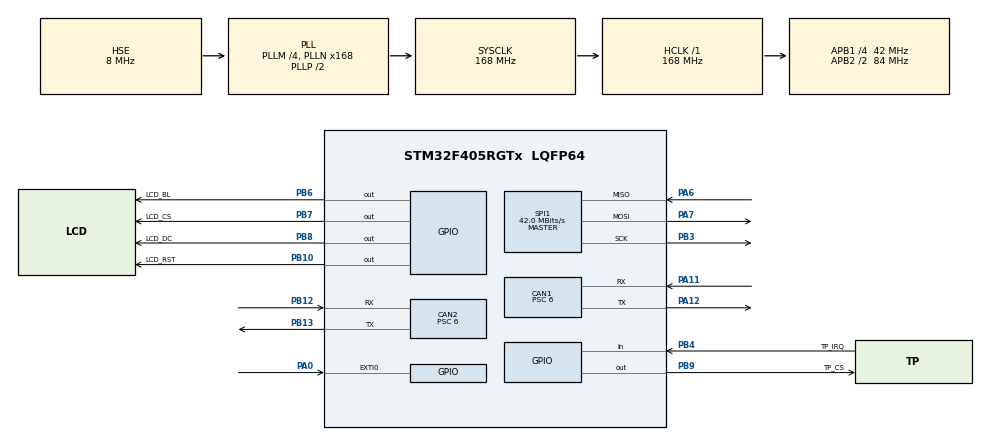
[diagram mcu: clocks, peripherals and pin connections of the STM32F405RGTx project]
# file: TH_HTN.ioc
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ADC1.Channel-1\#ChannelRegularConversion=ADC_CHANNEL_TEMPSENSOR
ADC1.NbrOfConversionFlag=1
ADC1.Rank-1\#ChannelRegularConversion=1
ADC1.SamplingTime-1\#ChannelRegularConversion=ADC_SAMPLETIME_3CYCLES
ADC1.master=1
CAN1.BS1=CAN_BS1_11TQ
CAN1.BS2=CAN_BS2_2TQ
CAN1.CalculateBaudRate=500000
CAN1.CalculateTimeBit=2000
CAN1.CalculateTimeQuantum=142.85714285714286
CAN1.Mode=CAN_MODE_NORMAL
CAN1.NART=ENABLE
CAN1.Prescaler=6
CAN2.BS1=CAN_BS1_11TQ
CAN2.BS2=CAN_BS2_2TQ
CAN2.CalculateBaudRate=500000
CAN2.CalculateTimeBit=2000
CAN2.CalculateTimeQuantum=142.85714285714286
CAN2.Mode=CAN_MODE_NORMAL
CAN2.NART=ENABLE
CAN2.Prescaler=6
FREERTOS.Queues01=TempQueue,16,uint32_t,0,Dynamic,NULL,NULL
FREERTOS.Tasks01=UI_Task,24,1024,StartDefaultTask,Default,NULL,Dynamic,NULL,NULL;Temp_Task,24,512,StartTask02,Default,NULL,Dynamic,NULL,NULL;CAN_Task,24,512,StartTask03,Default,NULL,Dynamic,NULL,NULL
Mcu.Family=STM32F4
Mcu.Name=STM32F405RGTx
Mcu.Package=LQFP64
NVIC.EXTI0_IRQn=true\:5\:0\:false\:false\:true\:true\:true\:true\:true
NVIC.PriorityGroup=NVIC_PRIORITYGROUP_4
NVIC.TIM1_UP_TIM10_IRQn=true\:15\:0\:false\:false\:true\:false\:false\:true\:true
NVIC.TimeBase=TIM1_UP_TIM10_IRQn
NVIC.TimeBaseIP=TIM1
PA0-WKUP.GPIO_ModeDefaultEXTI=GPIO_MODE_IT_FALLING
PA0-WKUP.GPIO_PuPd=GPIO_PULLUP
PA0-WKUP.Signal=GPXTI0
PA11.GPIO_PuPd=GPIO_PULLUP
PA11.Mode=CAN_Activate
PA11.Signal=CAN1_RX
PA12.Mode=CAN_Activate
PA12.Signal=CAN1_TX
PA13.Mode=Serial_Wire
PA13.Signal=SYS_JTMS-SWDIO
PA14.Mode=Serial_Wire
PA14.Signal=SYS_JTCK-SWCLK
PA6.Mode=Full_Duplex_Master
PA6.Signal=SPI1_MISO
PA7.Mode=Full_Duplex_Master
PA7.Signal=SPI1_MOSI
PB10.GPIO_Label=LCD_RST
PB10.PinState=GPIO_PIN_SET
PB10.Signal=GPIO_Output
PB12.GPIO_PuPd=GPIO_PULLUP
PB12.Mode=CAN_Activate
PB12.Signal=CAN2_RX
PB13.Mode=CAN_Activate
PB13.Signal=CAN2_TX
PB3.Mode=Full_Duplex_Master
PB3.Signal=SPI1_SCK
PB4.GPIO_Label=TP_IRQ
PB4.GPIO_PuPd=GPIO_PULLUP
PB4.Signal=GPIO_Input
PB6.GPIO_Label=LCD_BL
PB6.PinState=GPIO_PIN_RESET
PB6.Signal=GPIO_Output
PB7.GPIO_Label=LCD_CS
PB7.PinState=GPIO_PIN_SET
PB7.Signal=GPIO_Output
PB8.GPIO_Label=LCD_DC
PB8.GPIO_Speed=GPIO_SPEED_FREQ_HIGH
PB8.PinState=GPIO_PIN_SET
PB8.Signal=GPIO_Output
PB9.GPIO_Label=TP_CS
PB9.PinState=GPIO_PIN_SET
PB9.Signal=GPIO_Output
PC14-OSC32_IN.Mode=LSE-External-Oscillator
PC14-OSC32_IN.Signal=RCC_OSC32_IN
PC15-OSC32_OUT.Mode=LSE-External-Oscillator
PC15-OSC32_OUT.Signal=RCC_OSC32_OUT
PH0-OSC_IN.Mode=HSE-External-Oscillator
PH0-OSC_IN.Signal=RCC_OSC_IN
PH1-OSC_OUT.Mode=HSE-External-Oscillator
PH1-OSC_OUT.Signal=RCC_OSC_OUT
ProjectManager.HeapSize=0x200
ProjectManager.StackSize=0x400
ProjectManager.TargetToolchain=STM32CubeIDE
RCC.48MHZClocksFreq_Value=84000000
RCC.AHBFreq_Value=168000000
RCC.APB1CLKDivider=RCC_HCLK_DIV4
RCC.APB1Freq_Value=42000000
RCC.APB1TimFreq_Value=84000000
RCC.APB2CLKDivider=RCC_HCLK_DIV2
RCC.APB2Freq_Value=84000000
RCC.APB2TimFreq_Value=168000000
RCC.CortexFreq_Value=168000000
RCC.HCLKFreq_Value=168000000
RCC.HSE_VALUE=8000000
RCC.HSI_VALUE=16000000
RCC.PLLM=4
RCC.PLLN=168
RCC.PLLSourceVirtual=RCC_PLLSOURCE_HSE
RCC.RCC_RTC_Clock_Source=RCC_RTCCLKSOURCE_LSE
RCC.RCC_RTC_Clock_SourceVirtual=RCC_RTCCLKSOURCE_LSE
RCC.SYSCLKFreq_VALUE=168000000
RCC.SYSCLKSource=RCC_SYSCLKSOURCE_PLLCLK
RCC.VCOOutputFreq_Value=336000000
SPI1.BaudRatePrescaler=SPI_BAUDRATEPRESCALER_2
SPI1.CalculateBaudRate=42.0 MBits/s
SPI1.Direction=SPI_DIRECTION_2LINES
SPI1.Mode=SPI_MODE_MASTER
SPI1.VirtualType=VM_MASTER
VP_ADC1_TempSens_Input.Mode=IN-TempSens
VP_FREERTOS_VS_CMSIS_V2.Mode=CMSIS_V2
VP_SYS_VS_tim1.Mode=TIM1
board=custom

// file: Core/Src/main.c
/* USER CODE BEGIN Header */
/**
  ******************************************************************************
  * @file           : main.c
  * @brief          : Main program body
  ******************************************************************************
  * @attention
  *
  * Copyright (c) 2026 STMicroelectronics.
  * All rights reserved.
  *
  * This software is licensed under terms that can be found in the LICENSE file
  * in the root directory of this software component.
  * If no LICENSE file comes with this software, it is provided AS-IS.
  *
  ******************************************************************************
  */
/* USER CODE END Header */
#include "main.h"
#include "cmsis_os.h"

/* USER CODE BEGIN Includes */
#include <stdio.h>
#include <string.h>
#include "st7789.h"
/* USER CODE END Includes */

ADC_HandleTypeDef hadc1;

CAN_HandleTypeDef hcan1;
CAN_HandleTypeDef hcan2;

SPI_HandleTypeDef hspi1;

/* Definitions for UI_Task */
osThreadId_t UI_TaskHandle;
const osThreadAttr_t UI_Task_attributes = {
  .name = "UI_Task",
  .stack_size = 1024 * 4,
  .priority = (osPriority_t) osPriorityNormal,
};
/* Definitions for Temp_Task */
osThreadId_t Temp_TaskHandle;
const osThreadAttr_t Temp_Task_attributes = {
  .name = "Temp_Task",
  .stack_size = 512 * 4,
  .priority = (osPriority_t) osPriorityNormal,
};
/* Definitions for CAN_Task */
osThreadId_t CAN_TaskHandle;
const osThreadAttr_t CAN_Task_attributes = {
  .name = "CAN_Task",
  .stack_size = 512 * 4,
  .priority = (osPriority_t) osPriorityNormal,
};
/* Definitions for TempQueue */
osMessageQueueId_t TempQueueHandle;
const osMessageQueueAttr_t TempQueue_attributes = {
  .name = "TempQueue"
};
/* USER CODE BEGIN PV */
float debug_temp = 0.0f;

/* USER CODE END PV */

void SystemClock_Config(void);
static void MX_GPIO_Init(void);
static void MX_ADC1_Init(void);
static void MX_CAN1_Init(void);
static void MX_CAN2_Init(void);
static void MX_SPI1_Init(void);
void StartDefaultTask(void *argument);
void StartTask02(void *argument);
void StartTask03(void *argument);

/* USER CODE BEGIN 0 */
void CAN_Config_And_Start(void)
{
    CAN_FilterTypeDef filter;
    filter.FilterActivation = CAN_FILTER_ENABLE;
    filter.FilterMode = CAN_FILTERMODE_IDMASK;
    filter.FilterScale = CAN_FILTERSCALE_32BIT;
    filter.FilterIdHigh = 0;
    filter.FilterIdLow = 0;
    filter.FilterMaskIdHigh = 0;
    filter.FilterMaskIdLow = 0;
    filter.FilterFIFOAssignment = CAN_RX_FIFO0; // Đẩy dữ liệu vào Hòm thư 0
    filter.SlaveStartFilterBank = 14; // Điểm chia ranh giới Filter cho CAN2

    // Cấp phép cho CAN1 (Nhận tin nhắn vào FIFO0)
    filter.FilterBank = 0;
    HAL_CAN_ConfigFilter(&hcan1, &filter);

    // Cấp phép cho CAN2 (Nhận tin nhắn vào FIFO0)
    filter.FilterBank = 14;
    HAL_CAN_ConfigFilter(&hcan1, &filter);

    HAL_CAN_Start(&hcan1);
    HAL_CAN_Start(&hcan2);
}
long map(long x, long in_min, long in_max, long out_min, long out_max) {
    return (x - in_min) * (out_max - out_min) / (in_max - in_min) + out_min;
}

// đọc cảm ứng
uint8_t TP_Read_XY(uint16_t *x, uint16_t *y)
{
    uint8_t tx_x[3] = {0x90, 0, 0};
    uint8_t tx_y[3] = {0xD0, 0, 0};
    uint8_t rx_x[3] = {0}, rx_y[3] = {0};
    uint16_t raw_x = 0, raw_y = 0;

    vTaskSuspendAll();

    // Hạ tốc độ SPI cho cảm ứng
    __HAL_SPI_DISABLE(&hspi1);
    SPI1->CR1 = (SPI1->CR1 & ~SPI_CR1_BR_Msk) | SPI_BAUDRATEPRESCALER_128;
    __HAL_SPI_ENABLE(&hspi1);

    HAL_GPIO_WritePin(GPIOB, GPIO_PIN_7, GPIO_PIN_SET);

    HAL_GPIO_WritePin(GPIOB, GPIO_PIN_9, GPIO_PIN_RESET);

    // dò tọa độ
    HAL_SPI_TransmitReceive(&hspi1, tx_x, rx_x, 3, 10);
    raw_x = ((rx_x[1] << 8) | rx_x[2]) >> 4;
    HAL_SPI_TransmitReceive(&hspi1, tx_y, rx_y, 3, 10);
    raw_y = ((rx_y[1] << 8) | rx_y[2]) >> 4;

    HAL_GPIO_WritePin(GPIOB, GPIO_PIN_9, GPIO_PIN_SET);

    // nâng tốc độ lên
    __HAL_SPI_DISABLE(&hspi1);
    SPI1->CR1 = (SPI1->CR1 & ~SPI_CR1_BR_Msk) | SPI_BAUDRATEPRESCALER_8;
    __HAL_SPI_ENABLE(&hspi1);

    xTaskResumeAll();

    // Loại bỏ rác vật lý (Nếu không chạm, điện áp thường nảy lên 4095 hoặc 0)
    if (raw_x == 0 || raw_x >= 4095 || raw_y == 0 || raw_y >= 4095) return 0;

    *x = raw_x;
    *y = raw_y;

    return 1;
}
/* USER CODE END 0 */

int main(void)
{

  /* MCU Configuration--------------------------------------------------------*/

  /* Reset of all peripherals, Initializes the Flash interface and the Systick. */
  HAL_Init();

  /* Configure the system clock */
  SystemClock_Config();

  /* Initialize all configured peripherals */
  MX_GPIO_Init();
  MX_ADC1_Init();
  MX_CAN1_Init();
  MX_CAN2_Init();
  MX_SPI1_Init();
  /* USER CODE BEGIN 2 */
  CAN_Config_And_Start();
  /* USER CODE END 2 */

  /* Init scheduler */
  osKernelInitialize();

  /* Create the queue(s) */
  /* creation of TempQueue */
  TempQueueHandle = osMessageQueueNew (16, sizeof(uint32_t), &TempQueue_attributes);

  /* Create the thread(s) */
  /* creation of UI_Task */
  UI_TaskHandle = osThreadNew(StartDefaultTask, NULL, &UI_Task_attributes);

  /* creation of Temp_Task */
  Temp_TaskHandle = osThreadNew(StartTask02, NULL, &Temp_Task_attributes);

  /* creation of CAN_Task */
  CAN_TaskHandle = osThreadNew(StartTask03, NULL, &CAN_Task_attributes);

  /* Start scheduler */
  osKernelStart();

  /* We should never get here as control is now taken by the scheduler */

  /* Infinite loop */
  while (1)
  {

  }
}

void SystemClock_Config(void)
{
  RCC_OscInitTypeDef RCC_OscInitStruct = {0};
  RCC_ClkInitTypeDef RCC_ClkInitStruct = {0};

  /** Configure the main internal regulator output voltage
  */
  __HAL_RCC_PWR_CLK_ENABLE();
  __HAL_PWR_VOLTAGESCALING_CONFIG(PWR_REGULATOR_VOLTAGE_SCALE1);

  /** Initializes the RCC Oscillators according to the specified parameters
  * in the RCC_OscInitTypeDef structure.
  */
  RCC_OscInitStruct.OscillatorType = RCC_OSCILLATORTYPE_HSE;
  RCC_OscInitStruct.HSEState = RCC_HSE_ON;
  RCC_OscInitStruct.PLL.PLLState = RCC_PLL_ON;
  RCC_OscInitStruct.PLL.PLLSource = RCC_PLLSOURCE_HSE;
  RCC_OscInitStruct.PLL.PLLM = 4;
  RCC_OscInitStruct.PLL.PLLN = 168;
  RCC_OscInitStruct.PLL.PLLP = RCC_PLLP_DIV2;
  RCC_OscInitStruct.PLL.PLLQ = 4;
  if (HAL_RCC_OscConfig(&RCC_OscInitStruct) != HAL_OK)
  {
    Error_Handler();
  }

  /** Initializes the CPU, AHB and APB buses clocks
  */
  RCC_ClkInitStruct.ClockType = RCC_CLOCKTYPE_HCLK|RCC_CLOCKTYPE_SYSCLK
                              |RCC_CLOCKTYPE_PCLK1|RCC_CLOCKTYPE_PCLK2;
  RCC_ClkInitStruct.SYSCLKSource = RCC_SYSCLKSOURCE_PLLCLK;
  RCC_ClkInitStruct.AHBCLKDivider = RCC_SYSCLK_DIV1;
  RCC_ClkInitStruct.APB1CLKDivider = RCC_HCLK_DIV4;
  RCC_ClkInitStruct.APB2CLKDivider = RCC_HCLK_DIV2;

  if (HAL_RCC_ClockConfig(&RCC_ClkInitStruct, FLASH_LATENCY_5) != HAL_OK)
  {
    Error_Handler();
  }
}

static void MX_ADC1_Init(void)
{

  ADC_ChannelConfTypeDef sConfig = {0};

  /** Configure the global features of the ADC (Clock, Resolution, Data Alignment and number of conversion)
  */
  hadc1.Instance = ADC1;
  hadc1.Init.ClockPrescaler = ADC_CLOCK_SYNC_PCLK_DIV4;
  hadc1.Init.Resolution = ADC_RESOLUTION_12B;
  hadc1.Init.ScanConvMode = DISABLE;
  hadc1.Init.ContinuousConvMode = DISABLE;
  hadc1.Init.DiscontinuousConvMode = DISABLE;
  hadc1.Init.ExternalTrigConvEdge = ADC_EXTERNALTRIGCONVEDGE_NONE;
  hadc1.Init.ExternalTrigConv = ADC_SOFTWARE_START;
  hadc1.Init.DataAlign = ADC_DATAALIGN_RIGHT;
  hadc1.Init.NbrOfConversion = 1;
  hadc1.Init.DMAContinuousRequests = DISABLE;
  hadc1.Init.EOCSelection = ADC_EOC_SINGLE_CONV;
  if (HAL_ADC_Init(&hadc1) != HAL_OK)
  {
    Error_Handler();
  }

  /** Configure for the selected ADC regular channel its corresponding rank in the sequencer and its sample time.
  */
  sConfig.Channel = ADC_CHANNEL_TEMPSENSOR;
  sConfig.Rank = 1;
  sConfig.SamplingTime = ADC_SAMPLETIME_3CYCLES;
  if (HAL_ADC_ConfigChannel(&hadc1, &sConfig) != HAL_OK)
  {
    Error_Handler();
  }

}

static void MX_CAN1_Init(void)
{

  hcan1.Instance = CAN1;
  hcan1.Init.Prescaler = 6;
  hcan1.Init.Mode = CAN_MODE_NORMAL;
  hcan1.Init.SyncJumpWidth = CAN_SJW_1TQ;
  hcan1.Init.TimeSeg1 = CAN_BS1_11TQ;
  hcan1.Init.TimeSeg2 = CAN_BS2_2TQ;
  hcan1.Init.TimeTriggeredMode = DISABLE;
  hcan1.Init.AutoBusOff = DISABLE;
  hcan1.Init.AutoWakeUp = DISABLE;
  hcan1.Init.AutoRetransmission = ENABLE;
  hcan1.Init.ReceiveFifoLocked = DISABLE;
  hcan1.Init.TransmitFifoPriority = DISABLE;
  if (HAL_CAN_Init(&hcan1) != HAL_OK)
  {
    Error_Handler();
  }

}

static void MX_CAN2_Init(void)
{

  hcan2.Instance = CAN2;
  hcan2.Init.Prescaler = 6;
  hcan2.Init.Mode = CAN_MODE_NORMAL;
  hcan2.Init.SyncJumpWidth = CAN_SJW_1TQ;
  hcan2.Init.TimeSeg1 = CAN_BS1_11TQ;
  hcan2.Init.TimeSeg2 = CAN_BS2_2TQ;
  hcan2.Init.TimeTriggeredMode = DISABLE;
  hcan2.Init.AutoBusOff = DISABLE;
  hcan2.Init.AutoWakeUp = DISABLE;
  hcan2.Init.AutoRetransmission = ENABLE;
  hcan2.Init.ReceiveFifoLocked = DISABLE;
  hcan2.Init.TransmitFifoPriority = DISABLE;
  if (HAL_CAN_Init(&hcan2) != HAL_OK)
  {
    Error_Handler();
  }

}

static void MX_SPI1_Init(void)
{

  /* SPI1 parameter configuration*/
  hspi1.Instance = SPI1;
  hspi1.Init.Mode = SPI_MODE_MASTER;
  hspi1.Init.Direction = SPI_DIRECTION_2LINES;
  hspi1.Init.DataSize = SPI_DATASIZE_8BIT;
  hspi1.Init.CLKPolarity = SPI_POLARITY_LOW;
  hspi1.Init.CLKPhase = SPI_PHASE_1EDGE;
  hspi1.Init.NSS = SPI_NSS_SOFT;
  hspi1.Init.BaudRatePrescaler = SPI_BAUDRATEPRESCALER_2;
  hspi1.Init.FirstBit = SPI_FIRSTBIT_MSB;
  hspi1.Init.TIMode = SPI_TIMODE_DISABLE;
  hspi1.Init.CRCCalculation = SPI_CRCCALCULATION_DISABLE;
  hspi1.Init.CRCPolynomial = 10;
  if (HAL_SPI_Init(&hspi1) != HAL_OK)
  {
    Error_Handler();
  }

}

static void MX_GPIO_Init(void)
{
  GPIO_InitTypeDef GPIO_InitStruct = {0};

  /* GPIO Ports Clock Enable */
  __HAL_RCC_GPIOC_CLK_ENABLE();
  __HAL_RCC_GPIOH_CLK_ENABLE();
  __HAL_RCC_GPIOA_CLK_ENABLE();
  __HAL_RCC_GPIOB_CLK_ENABLE();

  /*Configure GPIO pin Output Level */
  HAL_GPIO_WritePin(GPIOB, LCD_RST_Pin|LCD_CS_Pin|LCD_DC_Pin|TP_CS_Pin, GPIO_PIN_SET);

  /*Configure GPIO pin Output Level */
  HAL_GPIO_WritePin(LCD_BL_GPIO_Port, LCD_BL_Pin, GPIO_PIN_RESET);

  /*Configure GPIO pin : PA0 */
  GPIO_InitStruct.Pin = GPIO_PIN_0;
  GPIO_InitStruct.Mode = GPIO_MODE_IT_FALLING;
  GPIO_InitStruct.Pull = GPIO_PULLUP;
  HAL_GPIO_Init(GPIOA, &GPIO_InitStruct);

  /*Configure GPIO pins : LCD_RST_Pin LCD_BL_Pin LCD_CS_Pin TP_CS_Pin */
  GPIO_InitStruct.Pin = LCD_RST_Pin|LCD_BL_Pin|LCD_CS_Pin|TP_CS_Pin;
  GPIO_InitStruct.Mode = GPIO_MODE_OUTPUT_PP;
  GPIO_InitStruct.Pull = GPIO_NOPULL;
  GPIO_InitStruct.Speed = GPIO_SPEED_FREQ_LOW;
  HAL_GPIO_Init(GPIOB, &GPIO_InitStruct);

  /*Configure GPIO pin : TP_IRQ_Pin */
  GPIO_InitStruct.Pin = TP_IRQ_Pin;
  GPIO_InitStruct.Mode = GPIO_MODE_INPUT;
  GPIO_InitStruct.Pull = GPIO_PULLUP;
  HAL_GPIO_Init(TP_IRQ_GPIO_Port, &GPIO_InitStruct);

  /*Configure GPIO pin : LCD_DC_Pin */
  GPIO_InitStruct.Pin = LCD_DC_Pin;
  GPIO_InitStruct.Mode = GPIO_MODE_OUTPUT_PP;
  GPIO_InitStruct.Pull = GPIO_NOPULL;
  GPIO_InitStruct.Speed = GPIO_SPEED_FREQ_HIGH;
  HAL_GPIO_Init(LCD_DC_GPIO_Port, &GPIO_InitStruct);

  /* EXTI interrupt init*/
  HAL_NVIC_SetPriority(EXTI0_IRQn, 5, 0);
  HAL_NVIC_EnableIRQ(EXTI0_IRQn);

}

void StartDefaultTask(void *argument)
{
  /* USER CODE BEGIN 5 */
	osDelay(200);
	  HAL_GPIO_WritePin(GPIOB, GPIO_PIN_6, GPIO_PIN_SET);

	  ST7789_Init();

	  ST7789_Fill_Color(BLACK);

	  ST7789_WriteString(20, 10, "[NHOM 04]", Font_11x18, WHITE, BLACK);
	  ST7789_WriteString(10, 60, "Internal Temp: ", Font_11x18, WHITE, BLACK);

	  ST7789_Fill(20, 150, 100, 200, GREEN);
	  ST7789_WriteString(35, 165, "PLAY", Font_11x18, BLACK, GREEN);

      ST7789_Fill(140, 150, 220, 200, RED);
	  ST7789_WriteString(150, 165, "PAUSE", Font_11x18, WHITE, RED);

	  float current_temp = 0.0f;
	  char temp_str[20];
  /* Infinite loop */
  for(;;)
  {
	  // CẬP NHẬT NHIỆT ĐỘ TỪ QUEUE
	        if (osMessageQueueGet(TempQueueHandle, &current_temp, NULL, 10) == osOK)
	        {
	            debug_temp = current_temp; // Lưu vào biến toàn cục cho CAN gửi
	            sprintf(temp_str, "%.1f C   ", current_temp);
	            vTaskSuspendAll();
	            ST7789_WriteString(150, 60, temp_str, Font_11x18, RED, BLACK);
	            xTaskResumeAll();
	        }

	        // Nhường CPU 40ms để xoay vòng quét
	        osDelay(50);
  }
  /* USER CODE END 5 */
}

void StartTask02(void *argument)
{
  /* USER CODE BEGIN StartTask02 */
	uint32_t adc_val;
	float voltage;
	float temperature;
  /* Infinite loop */
  for(;;)
  {
	  // Khởi động bộ chuyển đổi ADC
	      HAL_ADC_Start(&hadc1);

	      // Chờ ADC đọc xong (Timeout 100ms)
	      if (HAL_ADC_PollForConversion(&hadc1, 100) == HAL_OK)
	      {
	        // Lấy giá trị thô (0 - 4095)
	        adc_val = HAL_ADC_GetValue(&hadc1);

	        // Tính toán điện áp và nhiệt độ
	        voltage = (float)adc_val * 3.3f / 4095.0f;
	        temperature = ((voltage - 0.76f) / 0.0025f) + 25.0f;

	        // Đẩy giá trị nhiệt độ vào Queue để gửi sang UI_Task
	        osMessageQueuePut(TempQueueHandle, &temperature, 0, 0);
	      }

	      // Tắt ADC để tiết kiệm năng lượng
	      HAL_ADC_Stop(&hadc1);

	      // 1 giây (1000ms) rồi đo lại
	      osDelay(1000);
  }
  /* USER CODE END StartTask02 */
}

void StartTask03(void *argument)
{
  /* USER CODE BEGIN StartTask03 */
	osDelay(1000);
	// Khởi tạo cảm ứng
	static uint8_t play_locked = 0;
	uint16_t touch_x, touch_y;
  /* Infinite loop */
  for(;;)
  {
	  if (TP_Read_XY(&touch_x, &touch_y))
	  	        {
		              if (touch_x >= 0 && touch_x <= 500 && touch_y >= 1300 && touch_y <= 1650)
		              {
		            	  if (play_locked == 0)
		            	                    {
		            	                        play_locked = 1;

		            	                        vTaskSuspendAll();
		            	                        ST7789_WriteString(10, 230, "CAN: TX...      ", Font_11x18, YELLOW, BLACK);
		            	                        xTaskResumeAll();

		            	                        osDelay(300);

		            	                        HAL_CAN_AbortTxRequest(&hcan1, CAN_TX_MAILBOX0 | CAN_TX_MAILBOX1 | CAN_TX_MAILBOX2);

		            	                        CAN_TxHeaderTypeDef TxHeader;
		            	                        TxHeader.StdId = 0x123;
		            	                        TxHeader.ExtId = 0x00;
		            	                        TxHeader.IDE = CAN_ID_STD;
		            	                        TxHeader.RTR = CAN_RTR_DATA;
		            	                        TxHeader.DLC = 4;
		            	                        TxHeader.TransmitGlobalTime = DISABLE;

		            	                        uint32_t TxMailbox;
		            	                        uint8_t TxData[4];
		            	                        memcpy(TxData, &debug_temp, 4);

		            	                        // lấy dữ liệu từ CAN1
		            	                        if (HAL_CAN_AddTxMessage(&hcan1, &TxHeader, TxData, &TxMailbox) == HAL_OK)
		            	                        {
		            	                            osDelay(30);

		            	                            // Xem có nhận được ACK từ dây không?
		            	                            if (HAL_CAN_GetTxMailboxesFreeLevel(&hcan1) != 3)
		            	                            {
		            	                                vTaskSuspendAll();
		            	                                ST7789_WriteString(10, 230, "CAN1: TX Error! ", Font_11x18, RED, BLACK);
		            	                                xTaskResumeAll();
		            	                            }
		            	                            else
		            	                            {
		            	                                // nếu được thì kiểm tra CAN2
		            	                                if (HAL_CAN_GetRxFifoFillLevel(&hcan2, CAN_RX_FIFO0) > 0)
		            	                                {
		            	                                    CAN_RxHeaderTypeDef RxHeader;
		            	                                    uint8_t RxData[4];
		            	                                    float received_temp;

		            	                                    HAL_CAN_GetRxMessage(&hcan2, CAN_RX_FIFO0, &RxHeader, RxData);
		            	                                    memcpy(&received_temp, RxData, 4);

		            	                                    int p_nguyen = (int)received_temp;
		            	                                    int p_le = (int)((received_temp - p_nguyen) * 10);
		            	                                    if(p_le < 0) p_le = -p_le;

		            	                                    char can_msg[30];
		            	                                    sprintf(can_msg, "CAN2 RX: %d.%d C", p_nguyen, p_le);

		            	                                    vTaskSuspendAll();
		            	                                    ST7789_WriteString(10, 230, can_msg, Font_11x18, GREEN, BLACK);
		            	                                    xTaskResumeAll();
		            	                                }
		            	                                else
		            	                                {
		            	                                    vTaskSuspendAll();
		            	                                    ST7789_WriteString(10, 230, "CAN2: No Data!  ", Font_11x18, RED, BLACK);
		            	                                    xTaskResumeAll();
		            	                                }
		            	                            }
		            	                        }
		            	                    }
		              }

		              else if (touch_x >= 1600 && touch_x <= 1900 && touch_y >= 1300 && touch_y <= 1650)
		                          {
		                              vTaskSuspendAll();
		                              ST7789_WriteString(10, 230, "System SLEEPING!", Font_11x18, RED, BLACK);
		                              xTaskResumeAll();

		                              osDelay(500);

		                              // Tắt nhịp đếm của HAL (TIM1)
		                              HAL_SuspendTick();

		                              // TẮT CHUÔNG BÁO THỨC CỦA FREERTOS
		                              SysTick->CTRL &= ~SysTick_CTRL_ENABLE_Msk;

		                              // Dọn sạch rác ngắt của nút PA0
		                              __HAL_GPIO_EXTI_CLEAR_IT(GPIO_PIN_0);

		                              // ĐI NGỦ SÂU
		                              HAL_PWR_EnterSLEEPMode(PWR_MAINREGULATOR_ON, PWR_SLEEPENTRY_WFI);

		                              // Khi nhấn nút WAKEUP

		                              // Bật lại chuông báo thức của FreeRTOS
		                              SysTick->CTRL |= SysTick_CTRL_ENABLE_Msk;

		                              // Bật lại nhịp đếm của HAL
		                              HAL_ResumeTick();

		                              // Bật lại LCD
		                              HAL_GPIO_WritePin(GPIOB, GPIO_PIN_6, GPIO_PIN_SET);
		                              __HAL_GPIO_EXTI_CLEAR_IT(GPIO_PIN_0);

		                              vTaskSuspendAll();
		                              ST7789_WriteString(10, 230, "System AWAKE!   ", Font_11x18, GREEN, BLACK);
		                              xTaskResumeAll();

		                              osDelay(500);
		                          }
		              else
		              {
		                  play_locked = 0;
		              }
		          }
		          else
		          {
		              play_locked = 0;
		          }

		          osDelay(40);
  }
  /* USER CODE END StartTask03 */
}

void HAL_TIM_PeriodElapsedCallback(TIM_HandleTypeDef *htim)
{
  if (htim->Instance == TIM1)
  {
    HAL_IncTick();
  }
}

void Error_Handler(void)
{
  __disable_irq();
  while (1)
  {
  }
}
